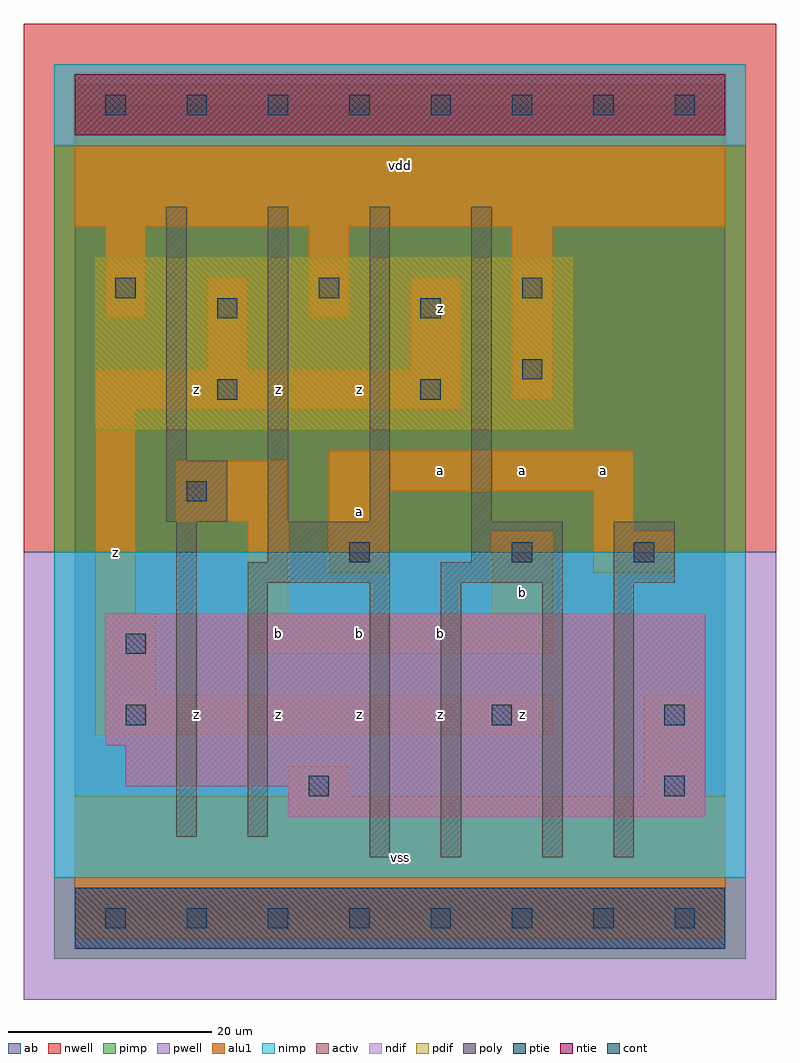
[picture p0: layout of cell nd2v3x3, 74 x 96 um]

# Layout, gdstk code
import gdstk
lib = gdstk.Library(unit=1e-6, precision=1e-09)
def R(c, l, rs):  # rectangles x0, y0, x1, y1
    for r in rs: c.add(gdstk.rectangle(r[:2], r[2:], *l))
def A(c, l, x, y, w, h, nx, ny, dx, dy):  # array of equal rectangles
    R(c, l, [(x+i*dx, y+j*dy, x+i*dx+w, y+j*dy+h) for i in range(nx) for j in range(ny)])
ndif = (3, 0)
pdif = (4, 0)
ntie = (5, 0)
ptie = (6, 0)
cont = (25, 0)
pwell = (41, 0)
nwell = (42, 0)
activ = (43, 0)
pimp = (44, 0)
nimp = (45, 0)
poly = (46, 0)
alu1 = (49, 0)
ab = (63, 0)

nd2v3x3 = lib.new_cell('nd2v3x3')
R(nd2v3x3, ndif, [(21,10,62,13), (5,13,62,17), (3,17,62,30)])
R(nd2v3x3, pdif, [(2,48,49,65)])
R(nd2v3x3, ntie, [(0,77,64,83)])
R(nd2v3x3, ptie, [(0,-3,64,3)])
A(nd2v3x3, cont, 3, -1, 2, 2, 8, 2, 8, 80)
A(nd2v3x3, cont, 4, 61, 2, 2, 3, 1, 20, 0)
R(nd2v3x3, cont, [(23,12,25,14), (58,12,60,14), (5,19,7,21), (41,19,43,21), (58,19,60,21), (5,26,7,28), (27,35,29,37), (43,35,45,37), (55,35,57,37), (11,41,13,43), (14,51,16,53), (34,51,36,53), (44,53,46,55), (14,59,16,61), (34,59,36,61)])
R(nd2v3x3, pwell, [(-5,-8,69,36)])
R(nd2v3x3, nwell, [(-5,36,69,88)])
R(nd2v3x3, activ, [(0,-3,64,3), (21,10,62,13), (5,13,62,17), (3,17,62,30), (2,48,49,65), (0,77,64,83)])
R(nd2v3x3, pimp, [(-2,-4,66,4), (-2,36,66,76)])
R(nd2v3x3, nimp, [(-2,4,66,36), (-2,76,66,84)])
A(nd2v3x3, poly, 19, 39, 2, 31, 3, 1, 10, 0)
R(nd2v3x3, poly, [(29,6,31,33), (36,6,38,33), (46,6,48,33), (53,6,55,33), (10,8,12,39), (17,8,19,33), (17,33,31,35), (36,33,48,35), (53,33,59,39), (19,35,31,39), (39,35,48,39), (9,39,15,45), (9,45,11,70)])
R(nd2v3x3, alu1, [(0,-2,64,12), (21,12,27,15), (56,12,62,22), (2,18,47,22), (2,22,8,30), (17,26,47,30), (2,30,6,50), (17,30,21,39), (41,30,47,38), (25,34,31,42), (51,34,59,38), (51,38,55,42), (10,39,21,45), (25,42,55,46), (2,50,38,54), (43,51,47,68), (13,54,17,63), (33,54,38,63), (3,59,7,68), (23,59,27,68), (0,68,64,82)])
R(nd2v3x3, ab, [(0,0,64,80)])
nd2v3x3.add(gdstk.Label('z', (12,20), layer=49, texttype=0))
nd2v3x3.add(gdstk.Label('z', (4,36), layer=49, texttype=0))
nd2v3x3.add(gdstk.Label('z', (12,52), layer=49, texttype=0))
nd2v3x3.add(gdstk.Label('z', (20,20), layer=49, texttype=0))
nd2v3x3.add(gdstk.Label('z', (28,20), layer=49, texttype=0))
nd2v3x3.add(gdstk.Label('b', (28,28), layer=49, texttype=0))
nd2v3x3.add(gdstk.Label('b', (20,28), layer=49, texttype=0))
nd2v3x3.add(gdstk.Label('a', (28,40), layer=49, texttype=0))
nd2v3x3.add(gdstk.Label('z', (28,52), layer=49, texttype=0))
nd2v3x3.add(gdstk.Label('z', (20,52), layer=49, texttype=0))
nd2v3x3.add(gdstk.Label('vss', (32,6), layer=49, texttype=0))
nd2v3x3.add(gdstk.Label('z', (44,20), layer=49, texttype=0))
nd2v3x3.add(gdstk.Label('z', (36,20), layer=49, texttype=0))
nd2v3x3.add(gdstk.Label('b', (36,28), layer=49, texttype=0))
nd2v3x3.add(gdstk.Label('b', (44,32), layer=49, texttype=0))
nd2v3x3.add(gdstk.Label('a', (44,44), layer=49, texttype=0))
nd2v3x3.add(gdstk.Label('a', (36,44), layer=49, texttype=0))
nd2v3x3.add(gdstk.Label('z', (36,60), layer=49, texttype=0))
nd2v3x3.add(gdstk.Label('vdd', (32,74), layer=49, texttype=0))
nd2v3x3.add(gdstk.Label('a', (52,44), layer=49, texttype=0))

lib.write_gds('nd2v3x3.gds')
